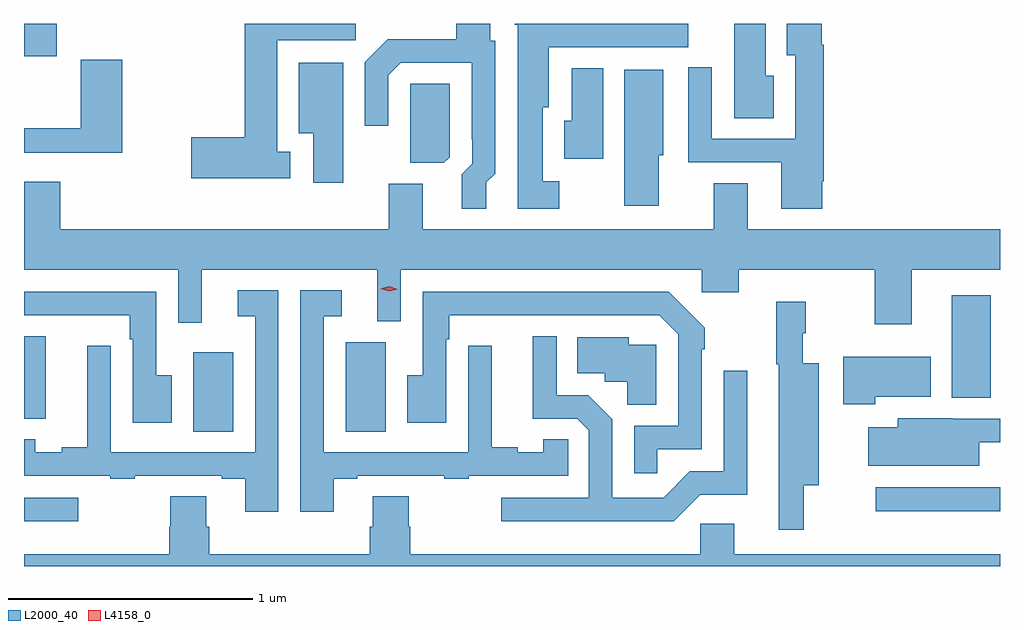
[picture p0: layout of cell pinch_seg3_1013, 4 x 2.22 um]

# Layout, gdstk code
import gdstk
lib = gdstk.Library(unit=1e-6, precision=1e-09)
def R(c, l, rs):  # rectangles x0, y0, x1, y1
    for r in rs: c.add(gdstk.rectangle(r[:2], r[2:], *l))
def P(c, l, *ps):  # polygons
    for p in ps: c.add(gdstk.Polygon(p, *l))
L2000_40 = (2000, 40)
L4158_0 = (4158, 0)

pinch_seg3_1013 = lib.new_cell('pinch_seg3_1013')
R(pinch_seg3_1013, L2000_40, [(578.032,666.584,578.254,666.681), (581.523,666.626,582.032,666.723), (578.726,666.952,578.89,667.276), (579.35,666.952,579.514,667.318), (578.032,667.005,578.122,667.343), (581.834,667.091,581.995,667.51), (578.032,668.489,578.167,668.623)])
P(pinch_seg3_1013, L2000_40, [(581.303,667.978),(581.309,667.978),(581.309,668.537),(581.302,668.537),(581.302,668.623),(581.159,668.623),(581.159,668.494),(581.193,668.494),(581.193,668.151),(580.851,668.151),(580.851,668.445),(580.755,668.445),(580.755,668.055),(581.135,668.055),(581.135,667.866),(581.303,667.866)],
  [(581.104,668.41),(581.071,668.41),(581.071,668.623),(580.943,668.623),(580.943,668.236),(581.104,668.236)],
  [(579.124,668.098),(579.07,668.098),(579.07,668.556),(579.391,668.556),(579.391,668.623),(578.936,668.623),(578.936,668.159),(578.718,668.159),(578.718,667.989),(579.124,667.989)],
  [(579.927,667.973),(579.963,668.009),(579.963,668.553),(579.943,668.553),(579.943,668.623),(579.803,668.623),(579.803,668.56),(579.523,668.56),(579.429,668.466),(579.429,668.205),(579.525,668.205),(579.525,668.412),(579.576,668.463),(579.867,668.463),(579.867,668.149),(579.87,668.149),(579.87,668.049),(579.827,668.006),(579.827,667.866),(579.927,667.866)],
  [(580.225,667.978),(580.159,667.978),(580.159,668.28),(580.183,668.28),(580.183,668.526),(580.755,668.526),(580.755,668.623),(580.043,668.623),(580.043,668.619),(580.055,668.619),(580.055,667.865),(580.225,667.865)],
  [(578.435,668.476),(578.264,668.476),(578.264,668.195),(578.032,668.195),(578.032,668.094),(578.435,668.094)],
  [(579.34,668.464),(579.158,668.464),(579.158,668.174),(579.218,668.174),(579.218,667.971),(579.34,667.971)],
  [(580.405,668.44),(580.277,668.44),(580.277,668.226),(580.247,668.226),(580.247,668.07),(580.405,668.07)],
  [(580.633,668.085),(580.651,668.085),(580.651,668.434),(580.493,668.434),(580.493,667.878),(580.633,667.878)],
  [(579.777,668.076),(579.777,668.378),(579.615,668.378),(579.615,668.267),(579.614,668.267),(579.614,668.053),(579.753,668.053)],
  [(581.671,667.616),(582.032,667.616),(582.032,667.78),(580.999,667.78),(580.999,667.97),(580.859,667.97),(580.859,667.78),(579.667,667.78),(579.667,667.968),(579.527,667.968),(579.527,667.78),(578.18,667.78),(578.18,667.975),(578.032,667.975),(578.032,667.616),(578.664,667.616),(578.664,667.398),(578.761,667.398),(578.761,667.616),(579.479,667.616),(579.479,667.403),(579.576,667.403),(579.576,667.616),(580.809,667.616),(580.809,667.523),(580.961,667.523),(580.961,667.616),(581.519,667.616),(581.519,667.392),(581.671,667.392)],
  [(579.075,667.531),(578.907,667.531),(578.907,667.425),(578.979,667.425),(578.979,666.867),(578.388,666.867),(578.388,667.303),(578.291,667.303),(578.291,666.887),(578.186,666.887),(578.186,666.868),(578.079,666.868),(578.079,666.92),(578.032,666.92),(578.032,666.771),(578.385,666.771),(578.385,666.759),(578.485,666.759),(578.485,666.771),(578.843,666.771),(578.843,666.759),(578.939,666.759),(578.939,666.624),(579.075,666.624)],
  [(579.301,666.759),(579.397,666.759),(579.397,666.771),(579.755,666.771),(579.755,666.759),(579.855,666.759),(579.855,666.771),(580.262,666.771),(580.262,666.92),(580.161,666.92),(580.161,666.868),(580.055,666.868),(580.055,666.887),(579.949,666.887),(579.949,667.303),(579.852,667.303),(579.852,666.867),(579.261,666.867),(579.261,667.425),(579.334,667.425),(579.334,667.531),(579.165,667.531),(579.165,666.624),(579.301,666.624)],
  [(580.628,666.879),(580.809,666.879),(580.809,667.289),(580.822,667.289),(580.822,667.378),(580.675,667.524),(579.666,667.524),(579.666,667.183),(579.602,667.183),(579.602,666.987),(579.762,666.987),(579.762,667.331),(579.775,667.331),(579.775,667.428),(580.635,667.428),(580.713,667.35),(580.713,666.975),(580.533,666.975),(580.533,666.78),(580.628,666.78)],
  [(578.638,667.183),(578.574,667.183),(578.574,667.524),(578.032,667.524),(578.032,667.428),(578.466,667.428),(578.466,667.331),(578.478,667.331),(578.478,666.987),(578.638,666.987)],
  [(581.228,666.731),(581.29,666.731),(581.29,667.231),(581.224,667.231),(581.224,667.354),(581.236,667.354),(581.236,667.483),(581.115,667.483),(581.115,667.227),(581.126,667.227),(581.126,666.549),(581.228,666.549)],
  [(580.803,666.693),(580.996,666.693),(580.996,667.201),(580.899,667.201),(580.899,666.789),(580.761,666.789),(580.653,666.681),(580.443,666.681),(580.443,667.002),(580.344,667.101),(580.215,667.101),(580.215,667.343),(580.118,667.343),(580.118,667.005),(580.299,667.005),(580.347,666.957),(580.347,666.681),(579.987,666.681),(579.987,666.584),(580.694,666.584)],
  [(580.624,667.308),(580.51,667.308),(580.51,667.339),(580.3,667.339),(580.3,667.19),(580.413,667.19),(580.413,667.156),(580.504,667.156),(580.504,667.062),(580.624,667.062)],
  [(581.52,667.094),(581.749,667.094),(581.749,667.258),(581.39,667.258),(581.39,667.064),(581.52,667.064)],
  [(581.947,666.909),(582.032,666.909),(582.032,667.005),(581.838,667.005),(581.838,667.006),(581.612,667.006),(581.612,666.97),(581.493,666.97),(581.493,666.812),(581.947,666.812)],
  [(582.032,666.448),(580.942,666.448),(580.942,666.573),(580.804,666.573),(580.804,666.448),(579.614,666.448),(579.614,666.561),(579.609,666.561),(579.609,666.686),(579.461,666.686),(579.461,666.561),(579.449,666.561),(579.449,666.448),(578.792,666.448),(578.792,666.561),(578.779,666.561),(578.779,666.686),(578.632,666.686),(578.632,666.561),(578.627,666.561),(578.627,666.448),(578.032,666.448),(578.032,666.4),(582.032,666.4)])
P(pinch_seg3_1013, L4158_0, [(579.528,667.527),(579.492,667.537),(579.492,667.538),(579.492,667.538),(579.528,667.547),(579.563,667.536),(579.564,667.536),(579.563,667.536)])

lib.write_gds('pinch_seg3_1013.gds')
